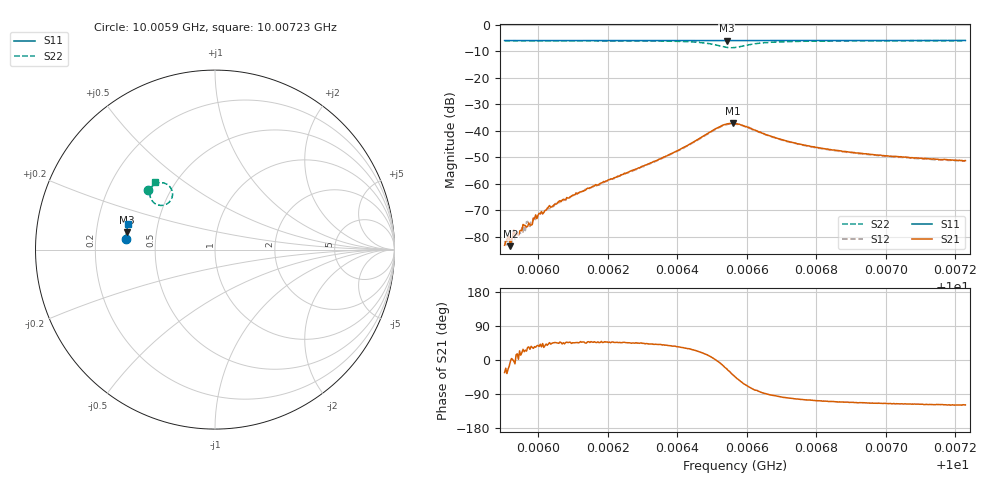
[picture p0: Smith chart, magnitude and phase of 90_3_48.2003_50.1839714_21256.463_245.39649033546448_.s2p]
#  HZ  S  RI  R  50.00
! Rohde & Schwarz Vector Network Analyzer
! Rohde-Schwarz,ZNB20-2Port,1311601062101988,3.16
! Created: UTC 3/20/2024, 11:40:04 AM
! freq[Hz]  re:S11  im:S11  re:S21  im:S21  re:S12  im:S12  re:S22  im:S22
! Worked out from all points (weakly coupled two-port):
!   401 points, 10.0059 GHz to 10.00723 GHz, reference 50 ohm
!   highest |S21| = -37.17 dB at 10.00656 GHz (marker M1); lowest = -83.5 dB at 10.00592 GHz (marker M2)
!   lowest |S11| = -6.0 dB at 10.00654 GHz (marker M3), VSWR 3.01, Z = 16.8 + j4.36 ohm
!   |S11| at or under -10 dB: nowhere
!   |S22| runs from -8.7 to -6.0 dB; largest |S21 - S12| = 0.00091
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1.0005903e10  -0.4982 0.0563  5.83e-05 -3.81e-05  7.63e-05 -3.68e-05  -0.3716 0.3317
1.000592e10  -0.498 0.0575  6.67e-05 -4.75e-06  7.11e-05 2.42e-06  -0.3707 0.333
1.000594e10  -0.498 0.0587  0.000114 3.31e-05  0.000106 5.18e-05  -0.3695 0.3342
1.000595e10  -0.4978 0.0593  0.00013 2.95e-05  0.000101 5.8e-05  -0.3691 0.3349
1.0005963e10  -0.4978 0.0602  0.000147 7.23e-05  0.000118 5.74e-05  -0.3681 0.3358
1.0005976e10  -0.4977 0.061  0.000149 8.01e-05  0.000135 8.04e-05  -0.3674 0.3367
1.0005993e10  -0.4977 0.0622  0.000216 0.000145  0.000157 0.000151  -0.3664 0.3378
1.0006026e10  -0.4975 0.0643  0.00027 0.000218  0.000245 0.000225  -0.3642 0.3401
1.0006062e10  -0.4971 0.0666  0.000327 0.000354  0.000305 0.000322  -0.3618 0.3426
1.0006125e10  -0.4968 0.0708  0.000487 0.00052  0.000453 0.000567  -0.3572 0.3473
1.0006347e10  -0.4949 0.0854  0.00221 0.00192  0.00206 0.00196  -0.3284 0.3671
1.0006414e10  -0.4941 0.0896  0.00392 0.00256  0.00372 0.00266  -0.3078 0.3724
1.0006477e10  -0.4929 0.0936  0.00769 0.00235  0.00737 0.00267  -0.27 0.3651
1.0006513e10  -0.4923 0.096  0.0112 -0.000294  0.0109 0.000348  -0.2415 0.3341
1.0006543e10  -0.4916 0.0974  0.0124 -0.00545  0.0121 -0.00467  -0.2418 0.2837
1.000656e10  -0.4916 0.0979  0.0108 -0.00864  0.0111 -0.00778  -0.2617 0.2587
1.0006566e10  -0.4916 0.0983  0.00977 -0.00948  0.0101 -0.00873  -0.2724 0.2522
1.0006639e10  -0.4917 0.1028  0.00091 -0.00947  0.00129 -0.00914  -0.3537 0.277
1.0006712e10  -0.4911 0.1074  -0.00105 -0.00641  -0.000756 -0.00633  -0.3626 0.3126
1.0006788e10  -0.4902 0.1125  -0.0014 -0.00483  -0.00117 -0.00483  -0.3591 0.3319
1.000701e10  -0.4873 0.1266  -0.00139 -0.003  -0.00124 -0.00304  -0.3446 0.3591
1.0007229e10  -0.4841 0.1404  -0.00131 -0.00241  -0.00118 -0.00239  -0.3318 0.3742
